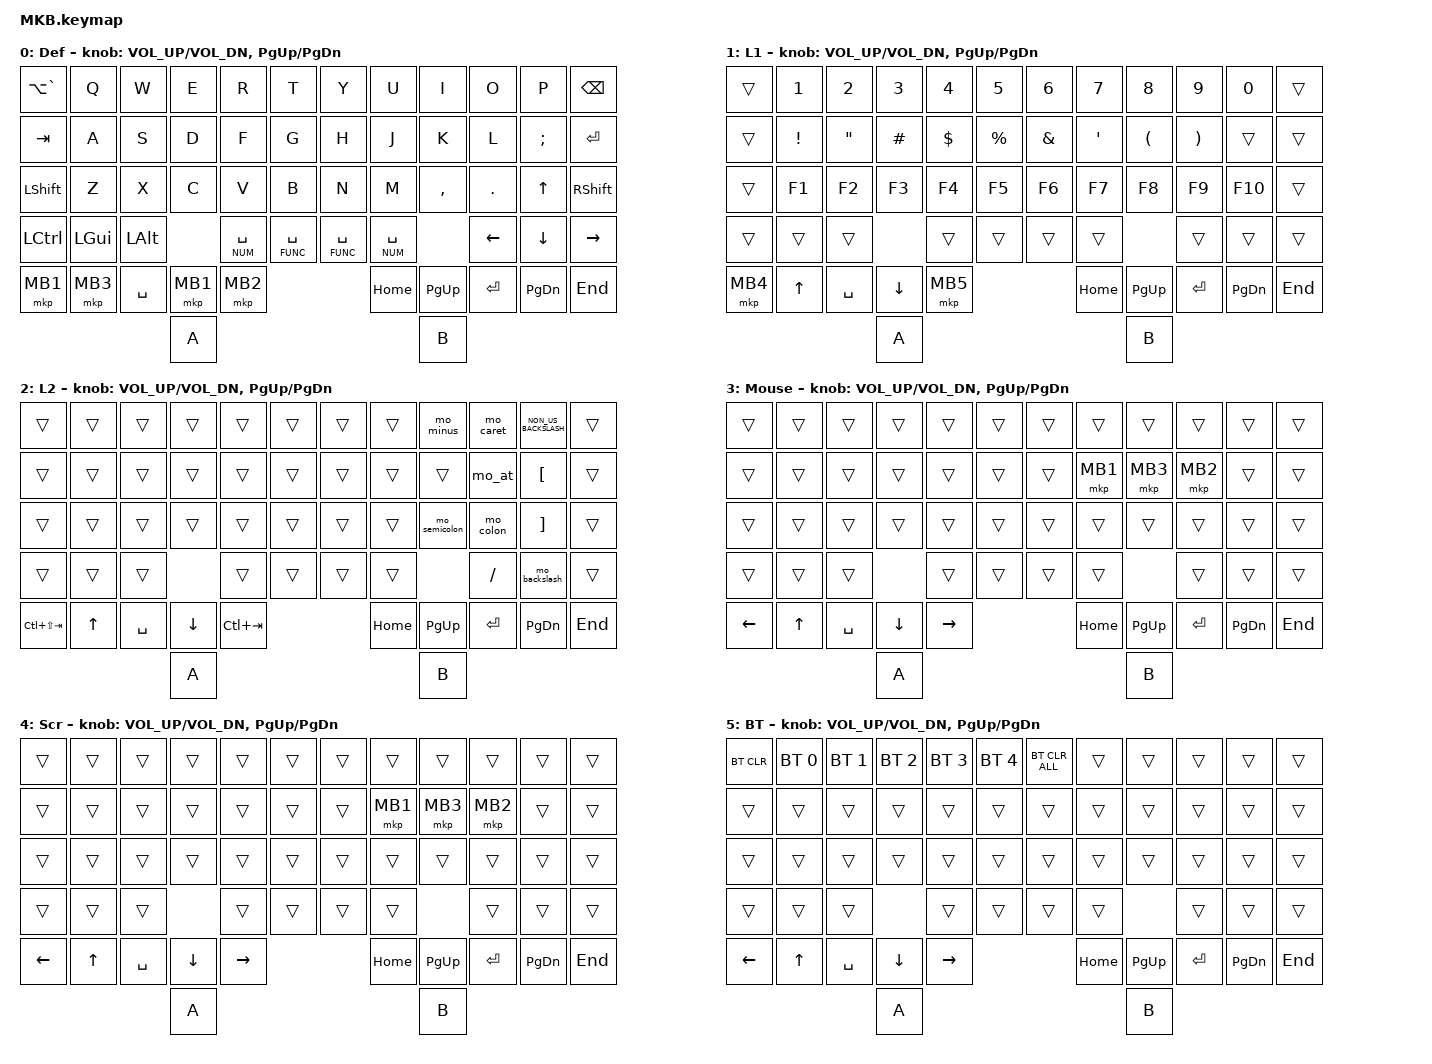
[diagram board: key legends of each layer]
// #include <layout_shift.dtsi>

#include <layout_shift_kp_override.dtsi>
#include <behaviors.dtsi>
#include <dt-bindings/zmk/bt.h>
#include <dt-bindings/zmk/keys.h>
#include <dt-bindings/zmk/pointing.h>

#define DEF 0
#define FUNC 1
#define NUM 2
#define MOUSE 3
#define SCROLL 4
#define BT 5

// OS設定を日本語キーボードのまま使用するための変換定義

#define JP_DQUOTE       AT                // "
#define JP_AMPERSAND    CARET             // &
#define JP_QUOTE        AMPERSAND         // '
#define JP_EQUAL        UNDER             // =
#define JP_CARET        EQUAL             // ^
#define JP_YEN          0x89              // ¥
#define JP_PLUS         COLON             // +
#define JP_TILDE        PLUS              // ~
#define JP_PIPE         LS(0x89)          // |
#define JP_AT           LEFT_BRACKET      // @
#define JP_COLON        SINGLE_QUOTE      // :
#define JP_ASTERISK     DOUBLE_QUOTES     // *
#define JP_BACKQUOTE    LEFT_BRACE        // `
#define JP_UNDERSCORE   LS(0x87)          // _
#define JP_LBRACKET     RIGHT_BRACKET     // [
#define JP_RBRACKET     BACKSLASH         // ]
#define JP_LPAREN       ASTERISK          // (
#define JP_RPAREN       LEFT_PARENTHESIS  // )
#define JP_LBRACE       RIGHT_BRACE       // {
#define JP_RBRACE       PIPE              // }
#define JP_KANA         LANGUAGE_1        // かな
#define JP_EISU         LANGUAGE_2        // 英数
#define JP_HANZEN       GRAVE             // 半角/全角

&mt {
    flavor = "balanced";
    tapping-term-ms = <280>;
    quick-tap-ms = <175>;
    require-prior-idle-ms = <150>;
};

/ {
    behaviors {
        mo_minus: mo_minus {
            compatible = "zmk,behavior-mod-morph";
            label = "MO_MINUS";
            bindings = <&kp MINUS>, <&kp EQUAL>;

            #binding-cells = <0>;
            mods = <(MOD_LSFT)>;
        };

        mo_caret: mo_caret {
            compatible = "zmk,behavior-mod-morph";
            label = "MO_CARET";
            bindings = <&kp CARET>, <&kp TILDE>;

            #binding-cells = <0>;
            mods = <(MOD_LSFT)>;
        };

        mo_at: mo_at {
            compatible = "zmk,behavior-mod-morph";
            label = "MO_AT";
            bindings = <&kp AT>, <&kp GRAVE>;

            #binding-cells = <0>;
            mods = <(MOD_LSFT)>;
        };

        mo_colon: mo_colon {
            compatible = "zmk,behavior-mod-morph";
            label = "MO_COLON";
            bindings = <&kp COLON>, <&kp ASTERISK>;

            #binding-cells = <0>;
            mods = <(MOD_LSFT)>;
        };

        mo_semicolon: mo_semicolon {
            compatible = "zmk,behavior-mod-morph";
            label = "MO_SEMICOLON";
            bindings = <&kp SEMICOLON>, <&kp PLUS>;

            #binding-cells = <0>;
            mods = <(MOD_LSFT)>;
        };

        mo_backslash: mo_backslash {
            compatible = "zmk,behavior-mod-morph";
            label = "MO_BACKSLASH";
            bindings = <&kp BACKSLASH>, <&kp UNDERSCORE>;

            #binding-cells = <0>;
            mods = <(MOD_LSFT)>;
        };
    };

    keymap {
        compatible = "zmk,keymap";

        default_layer {
            label = "Def";
            bindings = <
&kp LA(GRAVE)  &kp Q     &kp W      &kp E     &kp R          &kp T               &kp Y           &kp U          &kp I      &kp O      &kp P      &kp BACKSPACE
&kp TAB        &kp A     &kp S      &kp D     &kp F          &kp G               &kp H           &kp J          &kp K      &kp L      &kp SEMI   &kp ENTER
&kp LSHFT      &kp Z     &kp X      &kp C     &kp V          &kp B               &kp N           &kp M          &kp COMMA  &kp DOT    &kp UP     &kp RIGHT_SHIFT
&kp LCTRL      &kp LGUI  &kp LALT             &lt NUM SPACE  &lt FUNC SPACE      &lt FUNC SPACE  &lt NUM SPACE             &kp LEFT   &kp DOWN   &kp RIGHT
&mkp MB1       &mkp MB3  &kp SPACE  &mkp MB1  &mkp MB2                                           &kp HOME       &kp PG_UP  &kp ENTER  &kp PG_DN  &kp END
                                    &kp A                                                                       &kp B
            >;

            sensor-bindings = <&inc_dec_kp C_VOL_UP C_VOL_DN &inc_dec_kp PG_UP PG_DN>;
        };

        Layer1 {
            label = "L1";
            bindings = <
&trans    &kp NUMBER_1     &kp NUMBER_2       &kp NUMBER_3  &kp NUMBER_4  &kp NUMBER_5      &kp NUMBER_6   &kp NUMBER_7      &kp NUMBER_8          &kp NUMBER_9           &kp NUMBER_0  &trans
&trans    &kp EXCLAMATION  &kp DOUBLE_QUOTES  &kp POUND     &kp DOLLAR    &kp PERCENT       &kp AMPERSAND  &kp SINGLE_QUOTE  &kp LEFT_PARENTHESIS  &kp RIGHT_PARENTHESIS  &trans        &trans
&trans    &kp F1           &kp F2             &kp F3        &kp F4        &kp F5            &kp F6         &kp F7            &kp F8                &kp F9                 &kp F10       &trans
&trans    &trans           &trans                           &trans        &trans            &trans         &trans                                  &trans                 &trans        &trans
&mkp MB4  &kp UP           &kp SPACE          &kp DOWN      &mkp MB5                                       &kp HOME          &kp PG_UP             &kp ENTER              &kp PG_DN     &kp END
                                              &kp A                                                                          &kp B
            >;

            sensor-bindings = <&inc_dec_kp C_VOL_UP C_VOL_DN &inc_dec_kp PG_UP PG_DN>;
        };

        Layer2 {
            label = "L2";
            bindings = <
&trans           &trans  &trans     &trans    &trans       &trans      &trans  &trans    &mo_minus      &mo_caret  &kp NON_US_BACKSLASH  &trans
&trans           &trans  &trans     &trans    &trans       &trans      &trans  &trans    &trans         &mo_at     &kp LEFT_BRACKET      &trans
&trans           &trans  &trans     &trans    &trans       &trans      &trans  &trans    &mo_semicolon  &mo_colon  &kp RIGHT_BRACKET     &trans
&trans           &trans  &trans               &trans       &trans      &trans  &trans                   &kp SLASH  &mo_backslash         &trans
&kp LC(LS(TAB))  &kp UP  &kp SPACE  &kp DOWN  &kp LC(TAB)                      &kp HOME  &kp PG_UP      &kp ENTER  &kp PG_DN             &kp END
                                    &kp A                                                &kp B
            >;

            sensor-bindings = <&inc_dec_kp C_VOL_UP C_VOL_DN &inc_dec_kp PG_UP PG_DN>;
        };

        mouse_layer {
            label = "Mouse";
            bindings = <
&trans    &trans  &trans     &trans    &trans     &trans      &trans  &trans    &trans     &trans     &trans     &trans
&trans    &trans  &trans     &trans    &trans     &trans      &trans  &mkp MB1  &mkp MB3   &mkp MB2   &trans     &trans
&trans    &trans  &trans     &trans    &trans     &trans      &trans  &trans    &trans     &trans     &trans     &trans
&trans    &trans  &trans               &trans     &trans      &trans  &trans               &trans     &trans     &trans
&kp LEFT  &kp UP  &kp SPACE  &kp DOWN  &kp RIGHT                      &kp HOME  &kp PG_UP  &kp ENTER  &kp PG_DN  &kp END
                             &kp A                                              &kp B
            >;

            sensor-bindings = <&inc_dec_kp C_VOL_UP C_VOL_DN &inc_dec_kp PG_UP PG_DN>;
        };

        scroll_layer {
            label = "Scr";
            bindings = <
&trans    &trans  &trans     &trans    &trans     &trans      &trans  &trans    &trans     &trans     &trans     &trans
&trans    &trans  &trans     &trans    &trans     &trans      &trans  &mkp MB1  &mkp MB3   &mkp MB2   &trans     &trans
&trans    &trans  &trans     &trans    &trans     &trans      &trans  &trans    &trans     &trans     &trans     &trans
&trans    &trans  &trans               &trans     &trans      &trans  &trans               &trans     &trans     &trans
&kp LEFT  &kp UP  &kp SPACE  &kp DOWN  &kp RIGHT                      &kp HOME  &kp PG_UP  &kp ENTER  &kp PG_DN  &kp END
                             &kp A                                              &kp B
            >;

            sensor-bindings = <&inc_dec_kp C_VOL_UP C_VOL_DN &inc_dec_kp PG_UP PG_DN>;
        };

        bt_layer {
            label = "BT";
            bindings = <
&bt BT_CLR  &bt BT_SEL 0  &bt BT_SEL 1  &bt BT_SEL 2  &bt BT_SEL 3  &bt BT_SEL 4      &bt BT_CLR_ALL  &trans    &trans     &trans     &trans     &trans
&trans      &trans        &trans        &trans        &trans        &trans            &trans          &trans    &trans     &trans     &trans     &trans
&trans      &trans        &trans        &trans        &trans        &trans            &trans          &trans    &trans     &trans     &trans     &trans
&trans      &trans        &trans                      &trans        &trans            &trans          &trans               &trans     &trans     &trans
&kp LEFT    &kp UP        &kp SPACE     &kp DOWN      &kp RIGHT                                       &kp HOME  &kp PG_UP  &kp ENTER  &kp PG_DN  &kp END
                                        &kp A                                                                   &kp B
            >;

            sensor-bindings = <&inc_dec_kp C_VOL_UP C_VOL_DN &inc_dec_kp PG_UP PG_DN>;
        };
    };
};
